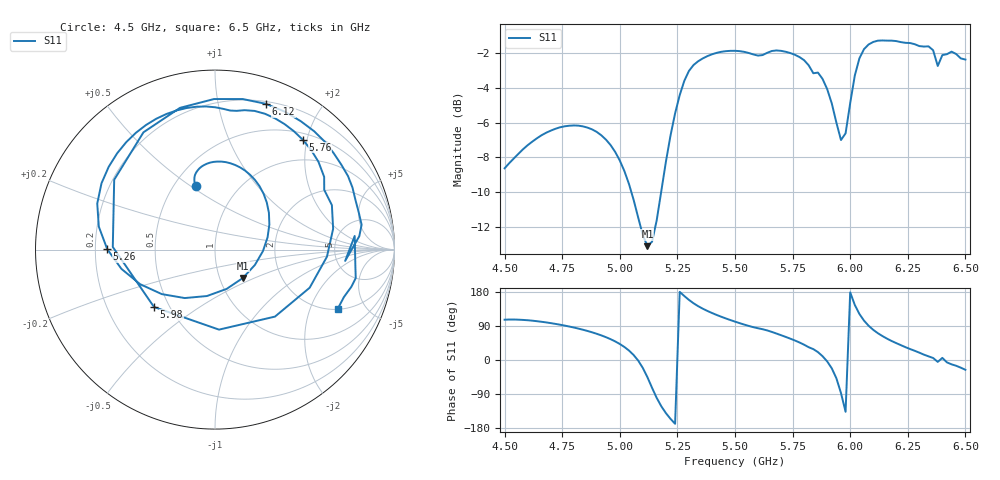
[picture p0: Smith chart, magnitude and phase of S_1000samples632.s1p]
! TOUCHSTONE file generated by CST MICROWAVE STUDIO
! Date and time: Fri Oct 28 20:22:34 2022
! Project name: L.cst
! Parameters = {Di=1.27; Epsilon_r=1.56; InnerDiameter=1.27; Length=2; Lf=10; Lg=60; OuterConductorThickness=0.2921; OuterDiameter=3.6; Wf=3; Wp=41.2; de=1.5; df=6.8; g=0.8; gx=0.893341; gy=1.85927; h=2.34; hf=1.524; px=13.442; py=10.4582; w=9.7; wx=12.5486; wy=8.59889}
! Header version: 2018
! Port assignment regex: !\s*Touchstone port\s*([0-9]+)\s*=\s*(CST MWS port|CST DS port)\s*([0-9]+|Zmin|Zmax)\s*\(\"(.*)\"\)(\s*mode\s*([0-9]+))?.*
! Touchstone port assignment:
! Touchstone port 1 = CST MWS port 1 ("")
# GHz S DB R 50
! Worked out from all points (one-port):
!   101 points, 4.5 GHz to 6.5 GHz, reference 50 ohm
!   lowest |S11| = -13.1 dB at 5.12 GHz (marker M1), VSWR 1.57, Z = 64.4 - j21.4 ohm
!   |S11| at or under -10 dB: 5.05 GHz to 5.179 GHz (129 MHz wide, 2.52 % of centre)
!   S11 on the Smith chart (normalised r, x): 4.5 GHz: 0.64, +0.53; 5.26 GHz: 0.25, +0.00; 5.76 GHz: 0.61, +1.92; 5.98 GHz: 0.41, -0.34; 6.12 GHz: 0.22, +1.39; 6.5 GHz: 2.02, -3.16
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4.5  -8.62 106.3
4.76  -6.22 90.9
4.9  -6.54 69.1
5  -8.18 42.2
5.12  -13.09 -45.6
5.2  -8.26 -140.1
5.26  -4.43 179.8
5.3  -3.04 158.7
5.36  -2.33 135.4
5.5  -1.89 101.3
5.66  -1.90 74.1
5.76  -2.12 51.5
5.86  -3.14 20.8
5.9  -4.08 -3.6
5.94  -6.00 -48.2
5.96  -7.00 -87.1
5.98  -6.62 -136.7
6  -4.89 178.5
6.02  -3.31 145.3
6.04  -2.32 121.4
6.06  -1.79 103.9
6.12  -1.31 70.7
6.26  -1.45 28.9
6.34  -1.63 9.6
6.38  -2.76 -5.0
6.4  -2.14 5.6
6.42  -2.08 -6.3
6.5  -2.39 -25.8
